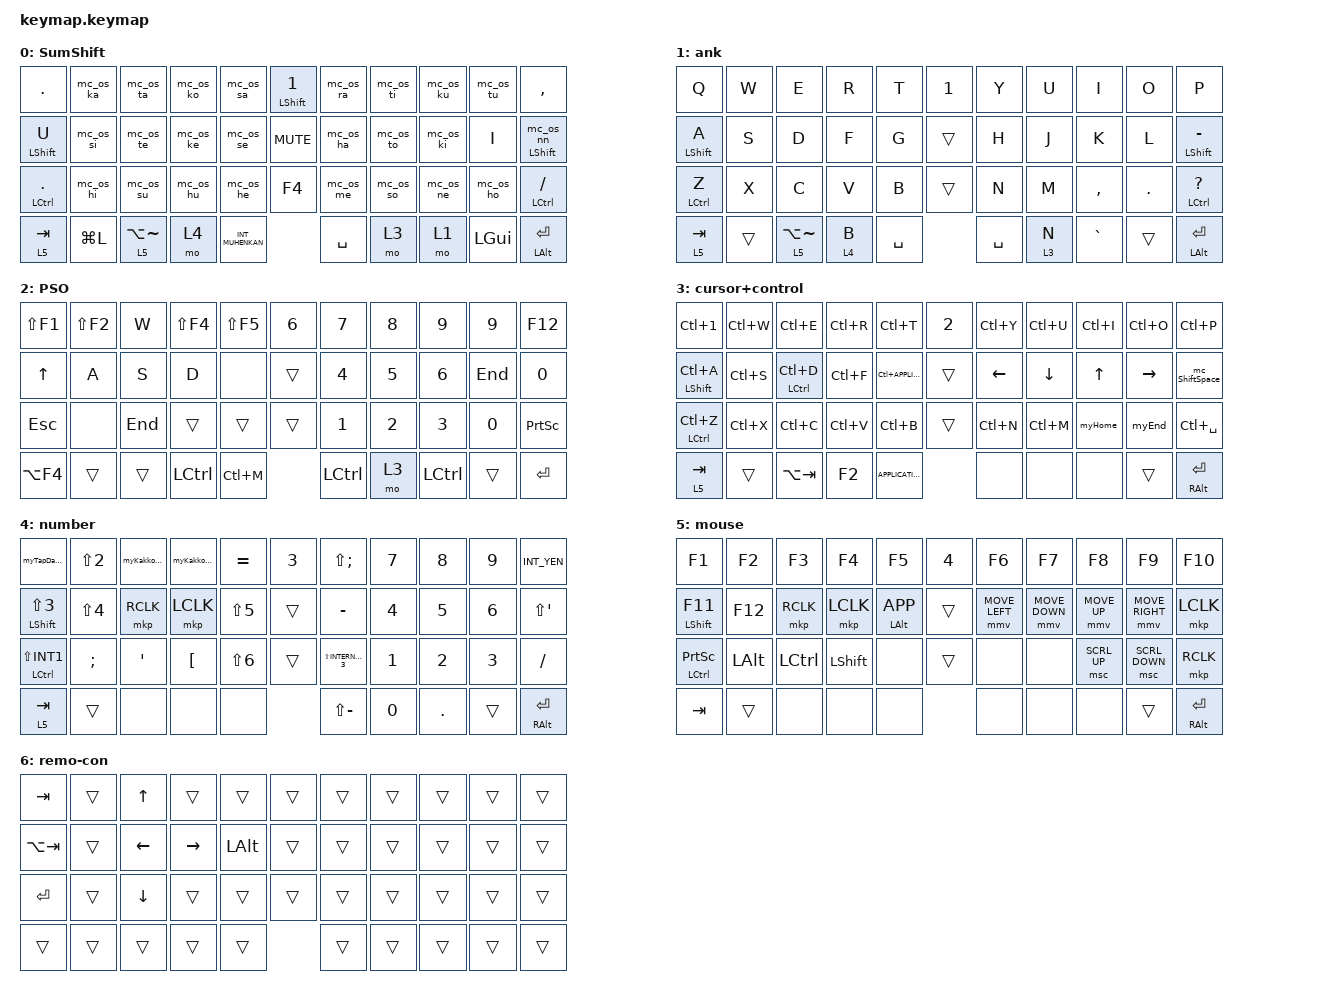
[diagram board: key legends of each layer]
#define ZMK_POINTING_DEFAULT_MOVE_VAL 1500  // default: 600
#define ZMK_POINTING_DEFAULT_SCRL_VAL 20    // default: 10

#include <behaviors.dtsi>
#include <dt-bindings/zmk/bt.h>
#include <dt-bindings/zmk/keys.h>
#include <dt-bindings/zmk/outputs.h>
#include <dt-bindings/zmk/pointing.h>

&lt { tapping-term-ms = <110>; };

/ {
    combos {
        compatible = "zmk,combos";

        cb-bks {
            bindings = <&kp BACKSPACE>;
            key-positions = <19 20>;
        };

        cb-del {
            bindings = <&kp DEL>;
            key-positions = <30 31>;
        };

        cb_os_e {
            bindings = <&kp E>;
            key-positions = <1 36>;
            layers = <0>;
            timeout-ms = <80>;
        };

        cb_os_a {
            bindings = <&kp A>;
            key-positions = <12 36>;
            layers = <0>;
            timeout-ms = <80>;
        };

        cb_os_na {
            bindings = <&mc_os_na>;
            key-positions = <36 13>;
            layers = <0>;
            timeout-ms = <80>;
        };

        cb_os_ni {
            bindings = <&mc_os_ni>;
            key-positions = <7 39>;
            layers = <0>;
            timeout-ms = <80>;
        };

        cb_os_nu {
            bindings = <&mc_os_nu>;
            key-positions = <39 28>;
            layers = <0>;
            timeout-ms = <80>;
        };

        cb_os_no {
            bindings = <&mc_os_no>;
            key-positions = <19 39>;
            layers = <0>;
            timeout-ms = <80>;
        };

        cb_os_o {
            bindings = <&kp O>;
            key-positions = <18 39>;
            layers = <0>;
            timeout-ms = <80>;
        };

        cb_os_ma {
            bindings = <&mc_os_ma>;
            key-positions = <9 39>;
            layers = <0>;
            timeout-ms = <80>;
        };

        cb_os_mi {
            bindings = <&mc_os_mi>;
            key-positions = <39 17>;
            layers = <0>;
            timeout-ms = <80>;
        };

        cb_os_mu {
            bindings = <&mc_os_mu>;
            key-positions = <39 30>;
            layers = <0>;
            timeout-ms = <80>;
        };

        cb_os_mo {
            bindings = <&mc_os_mo>;
            key-positions = <15 36>;
            layers = <0>;
            timeout-ms = <80>;
        };

        cb_os_ya {
            bindings = <&mc_os_ya>;
            key-positions = <25 36>;
            layers = <0>;
            timeout-ms = <80>;
        };

        cb_os_yu {
            bindings = <&mc_os_yu>;
            key-positions = <39 29>;
            layers = <0>;
            timeout-ms = <80>;
        };

        cb_os_yo {
            bindings = <&mc_os_yo>;
            key-positions = <39 6>;
            layers = <0>;
            timeout-ms = <80>;
        };

        cb_os_wa {
            bindings = <&mc_os_wa>;
            key-positions = <39 31>;
            layers = <0>;
            timeout-ms = <80>;
        };

        cb_os_wo {
            bindings = <&mc_os_wo>;
            key-positions = <11 36>;
            layers = <0>;
            timeout-ms = <80>;
        };

        cb_os_ri {
            bindings = <&mc_os_ri>;
            key-positions = <2 36>;
            layers = <0>;
            timeout-ms = <80>;
        };

        cb_os_ru {
            bindings = <&mc_os_ru>;
            key-positions = <39 8>;
            layers = <0>;
            timeout-ms = <80>;
        };

        cb_os_re {
            bindings = <&mc_os_re>;
            key-positions = <4 36>;
            layers = <0>;
            timeout-ms = <80>;
        };

        cb_os_ro {
            bindings = <&mc_os_ro>;
            key-positions = <24 36>;
            timeout-ms = <80>;
        };

        cb_os_xa {
            bindings = <&mc_os_xa>;
            key-positions = <0 36>;
            layers = <0>;
            timeout-ms = <80>;
        };

        cb_os_xi {
            bindings = <&mc_os_xi>;
            key-positions = <36 26>;
            timeout-ms = <80>;
        };

        cb_os_xu {
            bindings = <&mc_os_xu>;
            key-positions = <22 36>;
            layers = <0>;
            timeout-ms = <80>;
        };

        cb_os_xe {
            bindings = <&mc_os_xe>;
            key-positions = <10 39>;
            timeout-ms = <80>;
        };

        cb_os_xo {
            bindings = <&mc_os_xo>;
            key-positions = <32 39>;
            layers = <0>;
            timeout-ms = <80>;
        };

        cb_os_xya {
            bindings = <&mc_os_xya>;
            key-positions = <3 36>;
            timeout-ms = <80>;
        };

        cb_os_xyu {
            bindings = <&mc_os_xyu>;
            key-positions = <14 36>;
            layers = <0>;
            timeout-ms = <80>;
        };

        cb_os_xyo {
            bindings = <&mc_os_xyo>;
            key-positions = <20 39>;
            timeout-ms = <80>;
        };

        cb_os_pa {
            bindings = <&mc_os_pa>;
            key-positions = <6 36>;
            layers = <0>;
            timeout-ms = <80>;
        };

        cb_os_pi {
            bindings = <&mc_os_pi>;
            key-positions = <10 36>;
            layers = <0>;
            timeout-ms = <80>;
        };

        cb_os_pu {
            bindings = <&mc_os_pu>;
            key-positions = <36 28>;
            layers = <0>;
            timeout-ms = <80>;
        };

        cb_os_pe {
            bindings = <&mc_os_pe>;
            key-positions = <30 36>;
            layers = <0>;
            timeout-ms = <80>;
        };

        cb_os_po {
            bindings = <&mc_os_po>;
            key-positions = <20 36>;
            layers = <0>;
            timeout-ms = <80>;
        };

        cb_os_ga {
            bindings = <&mc_os_ga>;
            key-positions = <1 39>;
            layers = <0>;
            timeout-ms = <80>;
        };

        cb_os_gi {
            bindings = <&mc_os_gi>;
            key-positions = <19 36>;
            layers = <0>;
            timeout-ms = <80>;
        };

        cb_os_gu {
            bindings = <&mc_os_gu>;
            key-positions = <8 36>;
            layers = <0>;
            timeout-ms = <80>;
        };

        cb_os_ge {
            bindings = <&mc_os_ge>;
            key-positions = <14 39>;
            layers = <0>;
            timeout-ms = <80>;
        };

        cb_os_go {
            bindings = <&mc_os_go>;
            key-positions = <3 39>;
            layers = <0>;
            timeout-ms = <80>;
        };

        cb_os_za {
            bindings = <&mc_os_za>;
            key-positions = <39 4>;
            layers = <0>;
            timeout-ms = <80>;
        };

        cb_os_zi {
            bindings = <&mc_os_zi>;
            key-positions = <12 39>;
            layers = <0>;
            timeout-ms = <80>;
        };

        cb_os_zu {
            bindings = <&mc_os_zu>;
            key-positions = <24 39>;
            layers = <0>;
            timeout-ms = <80>;
        };

        cb_os_ze {
            bindings = <&mc_os_ze>;
            key-positions = <15 39>;
            layers = <0>;
            timeout-ms = <80>;
        };

        cb_os_zo {
            bindings = <&mc_os_zo>;
            key-positions = <29 36>;
            layers = <0>;
            timeout-ms = <80>;
        };

        cb_os_da {
            bindings = <&mc_os_da>;
            key-positions = <2 39>;
            layers = <0>;
            timeout-ms = <80>;
        };

        cb_os_di {
            bindings = <&mc_os_di>;
            key-positions = <36 7>;
            layers = <0>;
            timeout-ms = <80>;
        };

        cb_os_du {
            bindings = <&mc_os_du>;
            key-positions = <36 9>;
            layers = <0>;
            timeout-ms = <80>;
        };

        cb_os_de {
            bindings = <&mc_os_de>;
            key-positions = <13 39>;
            layers = <0>;
            timeout-ms = <80>;
        };

        cb_os_do {
            bindings = <&mc_os_do>;
            key-positions = <18 36>;
            layers = <0>;
            timeout-ms = <80>;
        };

        cb_os_ba {
            bindings = <&mc_os_ba>;
            key-positions = <36 17>;
            layers = <0>;
            timeout-ms = <80>;
        };

        cb_os_bi {
            bindings = <&mc_os_bi>;
            key-positions = <23 39>;
            layers = <0>;
            timeout-ms = <80>;
        };

        cb_os_bu {
            bindings = <&mc_os_bu>;
            key-positions = <25 39>;
            layers = <0>;
            timeout-ms = <80>;
        };

        cb_os_be {
            bindings = <&mc_os_be>;
            key-positions = <26 39>;
            layers = <0>;
            timeout-ms = <80>;
        };

        cb_os_bo {
            bindings = <&mc_os_bo>;
            key-positions = <31 36>;
            layers = <0>;
            timeout-ms = <80>;
        };

        cb_os_chouon {
            bindings = <&kp MINUS>;
            key-positions = <23 36>;
            timeout-ms = <80>;
        };

        cb_os_xtu {
            bindings = <&mc_os_xtu>;
            key-positions = <21 39>;
            layers = <0>;
            timeout-ms = <80>;
        };

        cb_ins {
            bindings = <&kp INS>;
            key-positions = <8 9>;
        };

        cb_to1 {
            bindings = <&mc_to1>;
            key-positions = <18 19>;
            timeout-ms = <30>;
            require-prior-idle-ms = <30>;
        };

        cb_to0 {
            bindings = <&mc_to0>;
            key-positions = <14 13>;
            timeout-ms = <30>;
            require-prior-idle-ms = <30>;
        };

        cb_setBLE0 {
            bindings = <&bt BT_SEL 0>;
            key-positions = <6 5>;
        };

        cb_setBLE1 {
            bindings = <&bt BT_SEL 1>;
            key-positions = <7 5>;
        };

        cb_setBLEUSB {
            bindings = <&out OUT_USB>;
            key-positions = <20 5>;
        };

        cb_setBLEBLE {
            bindings = <&out OUT_BLE>;
            key-positions = <21 5>;
        };

        cb_ShiftDel {
            bindings = <&kp LS(DELETE)>;
            key-positions = <31 30 29>;
        };

        cb_setBLE2 {
            bindings = <&bt BT_SEL 2>;
            key-positions = <8 5>;
        };

        cb_setBLE3 {
            bindings = <&bt BT_SEL 3>;
            key-positions = <9 5>;
        };

        cb_setBLE4 {
            bindings = <&bt BT_SEL 4>;
            key-positions = <10 5>;
        };

        cb_clearBLE {
            bindings = <&bt BT_CLR>;
            key-positions = <17 5>;
        };

        cb_esc {
            bindings = <&kp ESCAPE>;
            key-positions = <1 2>;
            timeout-ms = <60>;
        };

        cb_toggle_pso {
            bindings = <&tog 2>;
            key-positions = <18 17>;
        };

        cb_enter {
            bindings = <&kp ENTER>;
            key-positions = <14 18>;
        };

        cb_tab {
            bindings = <&kp TAB>;
            key-positions = <13 19>;
        };

        cb_os_nu2 {
            bindings = <&mc_os_nu>;
            key-positions = <39 29 30>;
            timeout-ms = <80>;
            layers = <0>;
        };

        cb_os_xi2 {
            bindings = <&mc_os_xi>;
            key-positions = <36 24 25>;
            timeout-ms = <80>;
        };

        cb_os_pu2 {
            bindings = <&mc_os_pu>;
            key-positions = <36 29 30>;
            timeout-ms = <80>;
            layers = <0>;
        };

        cb_os_be2 {
            bindings = <&mc_os_be>;
            key-positions = <39 24 25>;
            timeout-ms = <80>;
            layers = <0>;
        };

        cb_os_he {
            bindings = <&mc_os_he>;
            key-positions = <24 25>;
        };

        cb_os_me {
            bindings = <&mc_os_me>;
            key-positions = <29 30>;
        };

        cb_space {
            bindings = <&kp SPACE>;
            key-positions = <36 39>;
        };

        cb_toggle_remo {
            bindings = <&tog 6>;
            key-positions = <26 28>;
        };
    };

    behaviors {
        myholdtap1: myholdtap1 {
            compatible = "zmk,behavior-hold-tap";
            label = "MYHOLDTAP1";
            bindings = <&kp>, <&kp>;

            #binding-cells = <2>;
            tapping-term-ms = <150>;
            flavor = "balanced";
            require-prior-idle-ms = <150>;
        };

        myTBMHZH: myTBMHZH {
            compatible = "zmk,behavior-tap-dance";
            label = "MYTBMHZH";
            #binding-cells = <0>;
            bindings = <&kp INTERNATIONAL_5>, <&kp GRAVE>;
        };

        myHome: myHome {
            compatible = "zmk,behavior-tap-dance";
            label = "MYHOME";
            #binding-cells = <0>;
            bindings =
                <&kp HOME>,
                <&kp LC(PAGE_UP)>,
                <&kp LA(LEFT_ARROW)>,
                <&kp LC(LS(TAB))>;

            tapping-term-ms = <300>;
        };

        myEnd: myEnd {
            compatible = "zmk,behavior-tap-dance";
            label = "MYEND";
            #binding-cells = <0>;
            bindings =
                <&kp END>,
                <&kp LC(PAGE_DOWN)>,
                <&kp LA(RIGHT_ARROW)>,
                <&kp LC(TAB)>;

            tapping-term-ms = <300>;
        };

        myKakkoHiraku: myKakkoHiraku {
            compatible = "zmk,behavior-tap-dance";
            label = "MYKAKKOHIRAKU";
            #binding-cells = <0>;
            bindings =
                <&kp LS(NUMBER_8)>,
                <&kp RIGHT_BRACKET>,
                <&kp LS(RIGHT_BRACKET)>;

            tapping-term-ms = <300>;
        };

        myKakkoTojiru: myKakkoTojiru {
            compatible = "zmk,behavior-tap-dance";
            label = "MYKAKKOTOJIRU";
            #binding-cells = <0>;
            bindings = <&kp LS(N9)>, <&kp BACKSLASH>, <&kp LS(BACKSLASH)>;

            tapping-term-ms = <300>;
        };

        test_tap: test_tap {
            compatible = "zmk,behavior-tap-dance";
            label = "TEST_TAP";
            #binding-cells = <0>;
            bindings = <&kp NUMBER_1>, <&kp NUMBER_2>;
        };

        test_holdtap: test_holdtap {
            compatible = "zmk,behavior-hold-tap";
            label = "TEST_HOLDTAP";
            #binding-cells = <2>;
            tapping-term-ms = <1000>;
            flavor = "balanced";
            require-prior-idle-ms = <1000>;
            bindings = <&kp>, <&kp>;
        };

        myholdtap_lowspeed: myholdtap_lowspeed {
            compatible = "zmk,behavior-hold-tap";
            label = "MYHOLDTAP_LOWSPEED";
            bindings = <&kp>, <&kp>;

            #binding-cells = <2>;
            tapping-term-ms = <250>;
            flavor = "balanced";
            require-prior-idle-ms = <128>;
        };

        myHoldTapNN: myHoldTapNN {
            compatible = "zmk,behavior-hold-tap";
            label = "MYHOLDTAPNN";
            bindings = <&kp>, <&mc_os_nn>;

            #binding-cells = <2>;
            tapping-term-ms = <150>;
            flavor = "balanced";
            require-prior-idle-ms = <150>;
        };

        myTapDanceQuote: myTapDanceQuote {
            compatible = "zmk,behavior-tap-dance";
            label = "MYTAPDANCEQUOTE";
            #binding-cells = <0>;
            bindings = <&kp LS(NUMBER_7)>, <&kp LEFT_BRACE>;
        };

        myLts1: myLts1 {
            compatible = "zmk,behavior-hold-tap";
            label = "MYLTS1";
            bindings = <&mo>, <&mc_to1>;

            #binding-cells = <2>;
            tapping-term-ms = <118>;
            flavor = "balanced";
        };

        my_Lts0: my_Lts0 {
            compatible = "zmk,behavior-hold-tap";
            label = "MY_LTS0";
            bindings = <&mo>, <&mc_to0>;

            #binding-cells = <2>;
            tapping-term-ms = <120>;
            flavor = "balanced";
        };

        my_LtZenHan: my_LtZenHan {
            compatible = "zmk,behavior-hold-tap";
            label = "MY_LTZENHAN";
            bindings = <&mo>, <&kp>;

            #binding-cells = <2>;
            tapping-term-ms = <120>;
            flavor = "balanced";
        };

        mylt_lowspeed: mylt_lowspeed {
            compatible = "zmk,behavior-hold-tap";
            label = "MYLT_LOWSPEED";
            bindings = <&mo>, <&kp>;

            #binding-cells = <2>;
            tapping-term-ms = <200>;
            flavor = "balanced";
        };
    };

    macros {
        mc_os_ka: mc_os_ka {
            compatible = "zmk,behavior-macro";
            #binding-cells = <0>;
            bindings = <&kp K &kp A>;
            label = "MC_OS_KA";
            wait-ms = <0>;
            tap-ms = <0>;
        };

        mc_os_ki: mc_os_ki {
            compatible = "zmk,behavior-macro";
            #binding-cells = <0>;
            bindings = <&kp K &kp I>;
            label = "MC_OS_KI";
            wait-ms = <0>;
            tap-ms = <0>;
        };

        mc_os_ku: mc_os_ku {
            compatible = "zmk,behavior-macro";
            #binding-cells = <0>;
            bindings = <&kp K &kp U>;
            label = "MC_OS_KU";
            wait-ms = <0>;
            tap-ms = <0>;
        };

        mc_os_ke: mc_os_ke {
            compatible = "zmk,behavior-macro";
            #binding-cells = <0>;
            bindings = <&kp K &kp E>;
            label = "MC_OS_KE";
            wait-ms = <0>;
            tap-ms = <0>;
        };

        mc_os_ko: mc_os_ko {
            compatible = "zmk,behavior-macro";
            #binding-cells = <0>;
            bindings = <&kp K &kp O>;
            label = "MC_OS_KO";
            wait-ms = <0>;
            tap-ms = <0>;
        };

        mc_os_sa: mc_os_sa {
            compatible = "zmk,behavior-macro";
            #binding-cells = <0>;
            bindings = <&kp S &kp A>;
            label = "MC_OS_SA";
            wait-ms = <0>;
            tap-ms = <0>;
        };

        mc_os_si: mc_os_si {
            compatible = "zmk,behavior-macro";
            #binding-cells = <0>;
            bindings = <&kp S &kp I>;
            label = "MC_OS_SI";
            wait-ms = <0>;
            tap-ms = <0>;
        };

        mc_os_su: mc_os_su {
            compatible = "zmk,behavior-macro";
            #binding-cells = <0>;
            bindings = <&kp S &kp U>;
            label = "MC_OS_SU";
            wait-ms = <0>;
            tap-ms = <0>;
        };

        mc_os_se: mc_os_se {
            compatible = "zmk,behavior-macro";
            #binding-cells = <0>;
            bindings = <&kp S &kp E>;
            label = "MC_OS_SE";
            wait-ms = <0>;
            tap-ms = <0>;
        };

        mc_os_so: mc_os_so {
            compatible = "zmk,behavior-macro";
            #binding-cells = <0>;
            bindings = <&kp S &kp O>;
            label = "MC_OS_SO";
            wait-ms = <0>;
            tap-ms = <0>;
        };

        mc_os_ta: mc_os_ta {
            compatible = "zmk,behavior-macro";
            #binding-cells = <0>;
            bindings = <&kp T &kp A>;
            label = "MC_OS_TA";
            wait-ms = <0>;
            tap-ms = <0>;
        };

        mc_os_ti: mc_os_ti {
            compatible = "zmk,behavior-macro";
            #binding-cells = <0>;
            bindings = <&kp T &kp I>;
            label = "MC_OS_TI";
            wait-ms = <0>;
            tap-ms = <0>;
        };

        mc_os_tu: mc_os_tu {
            compatible = "zmk,behavior-macro";
            #binding-cells = <0>;
            bindings = <&kp T &kp U>;
            label = "MC_OS_TU";
            wait-ms = <0>;
            tap-ms = <0>;
        };

        mc_os_te: mc_os_te {
            compatible = "zmk,behavior-macro";
            #binding-cells = <0>;
            bindings = <&kp T &kp E>;
            label = "MC_OS_TE";
            wait-ms = <0>;
            tap-ms = <0>;
        };

        mc_os_to: mc_os_to {
            compatible = "zmk,behavior-macro";
            #binding-cells = <0>;
            bindings = <&kp T &kp O>;
            label = "MC_OS_TO";
            wait-ms = <0>;
            tap-ms = <0>;
        };

        mc_os_na: mc_os_na {
            compatible = "zmk,behavior-macro";
            #binding-cells = <0>;
            bindings = <&kp N &kp A>;
            label = "MC_OS_NA";
            wait-ms = <0>;
            tap-ms = <0>;
        };

        mc_os_ni: mc_os_ni {
            compatible = "zmk,behavior-macro";
            #binding-cells = <0>;
            bindings = <&kp N &kp I>;
            label = "MC_OS_NI";
            wait-ms = <0>;
            tap-ms = <0>;
        };

        mc_os_nu: mc_os_nu {
            compatible = "zmk,behavior-macro";
            #binding-cells = <0>;
            bindings = <&kp N &kp U>;
            label = "MC_OS_NU";
            wait-ms = <0>;
            tap-ms = <0>;
        };

        mc_os_ne: mc_os_ne {
            compatible = "zmk,behavior-macro";
            #binding-cells = <0>;
            bindings = <&kp N &kp E>;
            label = "MC_OS_NE";
            wait-ms = <0>;
            tap-ms = <0>;
        };

        mc_os_no: mc_os_no {
            compatible = "zmk,behavior-macro";
            #binding-cells = <0>;
            bindings = <&kp N &kp O>;
            label = "MC_OS_NO";
            wait-ms = <0>;
            tap-ms = <0>;
        };

        mc_os_ha: mc_os_ha {
            compatible = "zmk,behavior-macro";
            #binding-cells = <0>;
            bindings = <&kp H &kp A>;
            label = "MC_OS_HA";
            wait-ms = <0>;
            tap-ms = <0>;
        };

        mc_os_hi: mc_os_hi {
            compatible = "zmk,behavior-macro";
            #binding-cells = <0>;
            bindings = <&kp H &kp I>;
            label = "MC_OS_HI";
            wait-ms = <0>;
            tap-ms = <0>;
        };

        mc_os_hu: mc_os_hu {
            compatible = "zmk,behavior-macro";
            #binding-cells = <0>;
            bindings = <&kp H &kp U>;
            label = "MC_OS_HU";
            wait-ms = <0>;
            tap-ms = <0>;
        };

        mc_os_he: mc_os_he {
            compatible = "zmk,behavior-macro";
            #binding-cells = <0>;
            bindings = <&kp H &kp E>;
            label = "MC_OS_HE";
            wait-ms = <0>;
            tap-ms = <0>;
        };

        mc_os_ho: mc_os_ho {
            compatible = "zmk,behavior-macro";
            #binding-cells = <0>;
            bindings = <&kp H &kp O>;
            label = "MC_OS_HO";
            wait-ms = <0>;
            tap-ms = <0>;
        };

        mc_os_ma: mc_os_ma {
            compatible = "zmk,behavior-macro";
            #binding-cells = <0>;
            bindings = <&kp M &kp A>;
            label = "MC_OS_MA";
            wait-ms = <0>;
            tap-ms = <0>;
        };

        mc_os_mi: mc_os_mi {
            compatible = "zmk,behavior-macro";
            #binding-cells = <0>;
            bindings = <&kp M &kp I>;
            label = "MC_OS_MI";
            wait-ms = <0>;
            tap-ms = <0>;
        };

        mc_os_mu: mc_os_mu {
            compatible = "zmk,behavior-macro";
            #binding-cells = <0>;
            bindings = <&kp M &kp U>;
            label = "MC_OS_MU";
            wait-ms = <0>;
            tap-ms = <0>;
        };

        mc_os_me: mc_os_me {
            compatible = "zmk,behavior-macro";
            #binding-cells = <0>;
            bindings = <&kp M &kp E>;
            label = "MC_OS_ME";
            wait-ms = <0>;
            tap-ms = <0>;
        };

        mc_os_mo: mc_os_mo {
            compatible = "zmk,behavior-macro";
            #binding-cells = <0>;
            bindings = <&kp M &kp O>;
            label = "MC_OS_MO";
            wait-ms = <0>;
            tap-ms = <0>;
        };

        mc_os_ya: mc_os_ya {
            compatible = "zmk,behavior-macro";
            #binding-cells = <0>;
            bindings = <&kp Y &kp A>;
            label = "MC_OS_YA";
            wait-ms = <0>;
            tap-ms = <0>;
        };

        mc_os_yu: mc_os_yu {
            compatible = "zmk,behavior-macro";
            #binding-cells = <0>;
            bindings = <&kp Y &kp U>;
            label = "MC_OS_YU";
            wait-ms = <0>;
            tap-ms = <0>;
        };

        mc_os_yo: mc_os_yo {
            compatible = "zmk,behavior-macro";
            #binding-cells = <0>;
            bindings = <&kp Y &kp O>;
            label = "MC_OS_YO";
            wait-ms = <0>;
            tap-ms = <0>;
        };

        mc_os_wa: mc_os_wa {
            compatible = "zmk,behavior-macro";
            #binding-cells = <0>;
            bindings = <&kp W &kp A>;
            label = "MC_OS_WA";
            wait-ms = <0>;
            tap-ms = <0>;
        };

        mc_os_wo: mc_os_wo {
            compatible = "zmk,behavior-macro";
            #binding-cells = <0>;
            bindings = <&kp W &kp O>;
            label = "MC_OS_WO";
            wait-ms = <0>;
            tap-ms = <0>;
        };

        mc_os_nn: mc_os_nn {
            compatible = "zmk,behavior-macro";
            #binding-cells = <0>;
            bindings = <&kp N &kp N>;
            label = "MC_OS_NN";
            wait-ms = <0>;
            tap-ms = <0>;
        };

        mc_os_ra: mc_os_ra {
            compatible = "zmk,behavior-macro";
            #binding-cells = <0>;
            bindings = <&kp R &kp A>;
            label = "MC_OS_RA";
            wait-ms = <0>;
            tap-ms = <0>;
        };

        mc_os_ri: mc_os_ri {
            compatible = "zmk,behavior-macro";
            #binding-cells = <0>;
            bindings = <&kp R &kp I>;
            label = "MC_OS_RI";
            wait-ms = <0>;
            tap-ms = <0>;
        };

        mc_os_ru: mc_os_ru {
            compatible = "zmk,behavior-macro";
            #binding-cells = <0>;
            bindings = <&kp R &kp U>;
            label = "MC_OS_RU";
            wait-ms = <0>;
            tap-ms = <0>;
        };

        mc_os_re: mc_os_re {
            compatible = "zmk,behavior-macro";
            #binding-cells = <0>;
            bindings = <&kp R &kp E>;
            label = "MC_OS_RE";
            wait-ms = <0>;
            tap-ms = <0>;
        };

        mc_os_ro: mc_os_ro {
            compatible = "zmk,behavior-macro";
            #binding-cells = <0>;
            bindings = <&kp R &kp O>;
            label = "MC_OS_RO";
            wait-ms = <0>;
            tap-ms = <0>;
        };

        mc_os_xa: mc_os_xa {
            compatible = "zmk,behavior-macro";
            #binding-cells = <0>;
            bindings = <&kp X &kp A>;
            label = "MC_OS_XA";
            wait-ms = <0>;
            tap-ms = <0>;
        };

        mc_os_xi: mc_os_xi {
            compatible = "zmk,behavior-macro";
            #binding-cells = <0>;
            bindings = <&kp X &kp I>;
            label = "MC_OS_XI";
            wait-ms = <0>;
            tap-ms = <0>;
        };

        mc_os_xu: mc_os_xu {
            compatible = "zmk,behavior-macro";
            #binding-cells = <0>;
            bindings = <&kp X &kp U>;
            label = "MC_OS_XU";
            wait-ms = <0>;
            tap-ms = <0>;
        };

        mc_os_xe: mc_os_xe {
            compatible = "zmk,behavior-macro";
            #binding-cells = <0>;
            bindings = <&kp X &kp E>;
            label = "MC_OS_XE";
            wait-ms = <0>;
            tap-ms = <0>;
        };

        mc_os_xo: mc_os_xo {
            compatible = "zmk,behavior-macro";
            #binding-cells = <0>;
            bindings = <&kp X &kp O>;
            label = "MC_OS_XO";
            wait-ms = <0>;
            tap-ms = <0>;
        };

        mc_os_xya: mc_os_xya {
            compatible = "zmk,behavior-macro";
            #binding-cells = <0>;
            bindings = <&kp X &kp Y &kp A>;
            label = "MC_OS_XYA";
            wait-ms = <0>;
            tap-ms = <0>;
        };

        mc_os_xyu: mc_os_xyu {
            compatible = "zmk,behavior-macro";
            #binding-cells = <0>;
            bindings = <&kp X &kp Y &kp U>;
            label = "MC_OS_XYU";
            wait-ms = <0>;
            tap-ms = <0>;
        };

        mc_os_xyo: mc_os_xyo {
            compatible = "zmk,behavior-macro";
            #binding-cells = <0>;
            bindings = <&kp X &kp Y &kp O>;
            label = "MC_OS_XYO";
            wait-ms = <0>;
            tap-ms = <0>;
        };

        mc_os_pa: mc_os_pa {
            compatible = "zmk,behavior-macro";
            #binding-cells = <0>;
            bindings = <&kp P &kp A>;
            label = "MC_OS_PA";
            wait-ms = <0>;
            tap-ms = <0>;
        };

        mc_os_pi: mc_os_pi {
            compatible = "zmk,behavior-macro";
            #binding-cells = <0>;
            bindings = <&kp P &kp I>;
            label = "MC_OS_PI";
            wait-ms = <0>;
            tap-ms = <0>;
        };

        mc_os_pu: mc_os_pu {
            compatible = "zmk,behavior-macro";
            #binding-cells = <0>;
            bindings = <&kp P &kp U>;
            label = "MC_OS_PU";
            wait-ms = <0>;
            tap-ms = <0>;
        };

        mc_os_pe: mc_os_pe {
            compatible = "zmk,behavior-macro";
            #binding-cells = <0>;
            bindings = <&kp P &kp E>;
            label = "MC_OS_PE";
            wait-ms = <0>;
            tap-ms = <0>;
        };

        mc_os_po: mc_os_po {
            compatible = "zmk,behavior-macro";
            #binding-cells = <0>;
            bindings = <&kp P &kp O>;
            label = "MC_OS_PO";
            wait-ms = <0>;
            tap-ms = <0>;
        };

        mc_os_ga: mc_os_ga {
            compatible = "zmk,behavior-macro";
            #binding-cells = <0>;
            bindings = <&kp G &kp A>;
            label = "MC_OS_GA";
            wait-ms = <0>;
            tap-ms = <0>;
        };

        mc_os_gi: mc_os_gi {
            compatible = "zmk,behavior-macro";
            #binding-cells = <0>;
            bindings = <&kp G &kp I>;
            label = "MC_OS_GI";
            wait-ms = <0>;
            tap-ms = <0>;
        };

        mc_os_gu: mc_os_gu {
            compatible = "zmk,behavior-macro";
            #binding-cells = <0>;
            bindings = <&kp G &kp U>;
            label = "MC_OS_GU";
            wait-ms = <0>;
            tap-ms = <0>;
        };

        mc_os_ge: mc_os_ge {
            compatible = "zmk,behavior-macro";
            #binding-cells = <0>;
            bindings = <&kp G &kp E>;
            label = "MC_OS_GE";
            wait-ms = <0>;
            tap-ms = <0>;
        };

        mc_os_go: mc_os_go {
            compatible = "zmk,behavior-macro";
            #binding-cells = <0>;
            bindings = <&kp G &kp O>;
            label = "MC_OS_GO";
            wait-ms = <0>;
            tap-ms = <0>;
        };

        mc_os_za: mc_os_za {
            compatible = "zmk,behavior-macro";
            #binding-cells = <0>;
            bindings = <&kp Z &kp A>;
            label = "MC_OS_ZA";
            wait-ms = <0>;
            tap-ms = <0>;
        };

        mc_os_zi: mc_os_zi {
            compatible = "zmk,behavior-macro";
            #binding-cells = <0>;
            bindings = <&kp Z &kp I>;
            label = "MC_OS_ZI";
            wait-ms = <0>;
            tap-ms = <0>;
        };

        mc_os_zu: mc_os_zu {
            compatible = "zmk,behavior-macro";
            #binding-cells = <0>;
            bindings = <&kp Z &kp U>;
            label = "MC_OS_ZU";
            wait-ms = <0>;
            tap-ms = <0>;
        };

        mc_os_ze: mc_os_ze {
            compatible = "zmk,behavior-macro";
            #binding-cells = <0>;
            bindings = <&kp Z &kp E>;
            label = "MC_OS_ZE";
            wait-ms = <0>;
            tap-ms = <0>;
        };

        mc_os_zo: mc_os_zo {
            compatible = "zmk,behavior-macro";
            #binding-cells = <0>;
            bindings = <&kp Z &kp O>;
            label = "MC_OS_ZO";
            wait-ms = <0>;
            tap-ms = <0>;
        };

        mc_os_da: mc_os_da {
            compatible = "zmk,behavior-macro";
            #binding-cells = <0>;
            bindings = <&kp D &kp A>;
            label = "MC_OS_DA";
            wait-ms = <0>;
            tap-ms = <0>;
        };

        mc_os_di: mc_os_di {
            compatible = "zmk,behavior-macro";
            #binding-cells = <0>;
            bindings = <&kp D &kp I>;
            label = "MC_OS_DI";
            wait-ms = <0>;
            tap-ms = <0>;
        };

        mc_os_du: mc_os_du {
            compatible = "zmk,behavior-macro";
            #binding-cells = <0>;
            bindings = <&kp D &kp U>;
            label = "MC_OS_DU";
            wait-ms = <0>;
            tap-ms = <0>;
        };

        mc_os_de: mc_os_de {
            compatible = "zmk,behavior-macro";
            #binding-cells = <0>;
            bindings = <&kp D &kp E>;
            label = "MC_OS_DE";
            wait-ms = <0>;
            tap-ms = <0>;
        };

        mc_os_do: mc_os_do {
            compatible = "zmk,behavior-macro";
            #binding-cells = <0>;
            bindings = <&kp D &kp O>;
            label = "MC_OS_DO";
            wait-ms = <0>;
            tap-ms = <0>;
        };

        mc_os_ba: mc_os_ba {
            compatible = "zmk,behavior-macro";
            #binding-cells = <0>;
            bindings = <&kp B &kp A>;
            label = "MC_OS_BA";
            wait-ms = <0>;
            tap-ms = <0>;
        };

        mc_os_bi: mc_os_bi {
            compatible = "zmk,behavior-macro";
            #binding-cells = <0>;
            bindings = <&kp B &kp I>;
            label = "MC_OS_BI";
            wait-ms = <0>;
            tap-ms = <0>;
        };

        mc_os_bu: mc_os_bu {
            compatible = "zmk,behavior-macro";
            #binding-cells = <0>;
            bindings = <&kp B &kp U>;
            label = "MC_OS_BU";
            wait-ms = <0>;
            tap-ms = <0>;
        };

        mc_os_be: mc_os_be {
            compatible = "zmk,behavior-macro";
            #binding-cells = <0>;
            bindings = <&kp B &kp E>;
            label = "MC_OS_BE";
            wait-ms = <0>;
            tap-ms = <0>;
        };

        mc_os_bo: mc_os_bo {
            compatible = "zmk,behavior-macro";
            #binding-cells = <0>;
            bindings = <&kp B &kp O>;
            label = "MC_OS_BO";
            wait-ms = <0>;
            tap-ms = <0>;
        };

        cb_os_on: cb_os_on {
            compatible = "zmk,behavior-macro";
            #binding-cells = <0>;
            bindings = <&kp LANG4 &to 0>;
            label = "CB_OS_ON";
        };

        mc_os_xtu: mc_os_xtu {
            compatible = "zmk,behavior-macro";
            #binding-cells = <0>;
            bindings = <&kp X &kp T &kp U>;
            label = "MC_OS_XTU";
            wait-ms = <0>;
            tap-ms = <0>;
        };

        mc_to1: mc_to1 {
            compatible = "zmk,behavior-macro";
            #binding-cells = <0>;
            bindings = <&kp LANGUAGE_2 &to 1>;
            label = "MC_TO1";
        };

        mc_to0: mc_to0 {
            compatible = "zmk,behavior-macro";
            #binding-cells = <0>;
            bindings = <&kp LANGUAGE_2 &kp GRAVE &to 0>;
            label = "MC_TO0";
        };

        mc_ShiftSpace: mc_ShiftSpace {
            compatible = "zmk,behavior-macro";
            #binding-cells = <0>;
            bindings = <&kp LANGUAGE_2 &kp LS(SPACE)>;
            label = "MC_SHIFTSPACE";
        };
    };

    keymap {
        compatible = "zmk,keymap";

        SumShift {
            bindings = <
&kp PERIOD                               &mc_os_ka  &mc_os_ta                 &mc_os_ko  &mc_os_sa         &test_holdtap LEFT_SHIFT NUMBER_1  &mc_os_ra  &mc_os_ti  &mc_os_ku  &mc_os_tu     &kp COMMA
&myholdtap_lowspeed LEFT_SHIFT U         &mc_os_si  &mc_os_te                 &mc_os_ke  &mc_os_se         &kp C_MUTE                         &mc_os_ha  &mc_os_to  &mc_os_ki  &kp I         &myHoldTapNN LEFT_SHIFT 0
&myholdtap_lowspeed LEFT_CONTROL PERIOD  &mc_os_hi  &mc_os_su                 &mc_os_hu  &mc_os_he         &kp F4                             &mc_os_me  &mc_os_so  &mc_os_ne  &mc_os_ho     &myholdtap1 LEFT_CONTROL SLASH
&mylt_lowspeed 5 TAB                     &kp LG(L)  &my_LtZenHan 5 LA(TILDE)  &mo 4      &kp INT_MUHENKAN                                     &kp SPACE  &mo 3      &mo 1      &kp LEFT_GUI  &myholdtap_lowspeed LEFT_ALT ENTER
            >;
        };

        ank {
            bindings = <
&kp Q                               &kp W   &kp E                     &kp R    &kp T      &kp NUMBER_1  &kp Y      &kp U    &kp I      &kp O       &kp P
&myholdtap_lowspeed LEFT_SHIFT A    &kp S   &kp D                     &kp F    &kp G      &trans        &kp H      &kp J    &kp K      &kp L       &myholdtap1 LEFT_SHIFT MINUS
&myholdtap_lowspeed LEFT_CONTROL Z  &kp X   &kp C                     &kp V    &kp B      &trans        &kp N      &kp M    &kp COMMA  &kp PERIOD  &myholdtap1 LEFT_CONTROL QUESTION
&mylt_lowspeed 5 TAB                &trans  &my_LtZenHan 5 LA(TILDE)  &lt 4 B  &kp SPACE                &kp SPACE  &lt 3 N  &kp GRAVE  &trans      &mt LEFT_ALT ENTER
            >;
        };

        PSO {
            bindings = <
&kp LS(F1)    &kp LS(F2)  &kp W    &kp LS(F4)        &kp LS(F5)  &kp NUMBER_6  &kp N7            &kp N8        &kp N9            &kp N9   &kp F12
&kp UP_ARROW  &kp A       &kp S    &kp D             &none       &trans        &kp NUMBER_4      &kp N5        &kp NUMBER_6      &kp END  &kp N0
&kp ESCAPE    &none       &kp END  &trans            &trans      &trans        &kp NUMBER_1      &kp NUMBER_2  &kp NUMBER_3      &kp N0   &kp PRINTSCREEN
&kp LA(F4)    &trans      &trans   &kp LEFT_CONTROL  &kp LC(M)                 &kp LEFT_CONTROL  &mo 3         &kp LEFT_CONTROL  &trans   &kp ENTER
            >;
        };

        cursor+control {
            bindings = <
&kp LC(NUMBER_1)                &kp LC(W)  &kp LC(E)                       &kp LC(R)  &kp LC(T)              &kp NUMBER_2  &kp LC(Y)  &kp LC(U)  &kp LC(I)  &kp LC(O)  &kp LC(P)
&myholdtap1 LEFT_SHIFT LC(A)    &kp LC(S)  &myholdtap1 LEFT_CONTROL LC(D)  &kp LC(F)  &kp LC(K_APPLICATION)  &trans        &kp LEFT   &kp DOWN   &kp UP     &kp RIGHT  &mc_ShiftSpace
&myholdtap1 LEFT_CONTROL LC(Z)  &kp LC(X)  &kp LC(C)                       &kp LC(V)  &kp LC(B)              &trans        &kp LC(N)  &kp LC(M)  &myHome    &myEnd     &kp LC(SPACE)
&lt 5 TAB                       &trans     &kp LA(TAB)                     &kp F2     &kp K_APPLICATION                    &none      &none      &none      &trans     &mt RIGHT_ALT ENTER
            >;
        };

        number {
            bindings = <
&myTapDanceQuote                     &kp LS(NUMBER_2)  &myKakkoHiraku    &myKakkoTojiru    &kp EQUAL         &kp NUMBER_3  &kp LS(SEMICOLON)        &kp NUMBER_7  &kp NUMBER_8  &kp NUMBER_9  &kp INT_YEN
&myholdtap1 LEFT_SHIFT LS(NUMBER_3)  &kp LS(NUMBER_4)  &mkp RCLK         &mkp LCLK         &kp LS(NUMBER_5)  &trans        &kp MINUS                &kp NUMBER_4  &kp NUMBER_5  &kp NUMBER_6  &kp LS(SINGLE_QUOTE)
&myholdtap1 LEFT_CONTROL LS(INT1)    &kp SEMI          &kp SINGLE_QUOTE  &kp LEFT_BRACKET  &kp LS(NUMBER_6)  &trans        &kp LS(INTERNATIONAL_3)  &kp NUMBER_1  &kp NUMBER_2  &kp NUMBER_3  &kp SLASH
&lt 5 TAB                            &trans            &none             &none             &none                           &kp LS(MINUS)            &kp NUMBER_0  &kp PERIOD    &trans        &mt RIGHT_ALT ENTER
            >;
        };

        mouse {
            bindings = <
&kp F1                                &kp F2        &kp F3            &kp F4          &kp F5                      &kp NUMBER_4  &kp F6          &kp F7          &kp F8        &kp F9           &kp F10
&myholdtap1 LEFT_SHIFT F11            &kp F12       &mkp RCLK         &mkp LCLK       &myholdtap1 LEFT_ALT K_APP  &trans        &mmv MOVE_LEFT  &mmv MOVE_DOWN  &mmv MOVE_UP  &mmv MOVE_RIGHT  &mkp LCLK
&myholdtap1 LEFT_CONTROL PRINTSCREEN  &kp LEFT_ALT  &kp LEFT_CONTROL  &kp LEFT_SHIFT  &none                       &trans        &none           &none           &msc SCRL_UP  &msc SCRL_DOWN   &mkp RCLK
&kp TAB                               &trans        &none             &none           &none                                     &none           &none           &none         &trans           &mt RIGHT_ALT ENTER
            >;
        };

        remo-con {
            bindings = <
&kp TAB      &trans  &kp UP_ARROW  &trans     &trans        &trans  &trans  &trans  &trans  &trans  &trans
&kp LA(TAB)  &trans  &kp LEFT      &kp RIGHT  &kp LEFT_ALT  &trans  &trans  &trans  &trans  &trans  &trans
&kp ENTER    &trans  &kp DOWN      &trans     &trans        &trans  &trans  &trans  &trans  &trans  &trans
&trans       &trans  &trans        &trans     &trans                &trans  &trans  &trans  &trans  &trans
            >;
        };
    };
};
